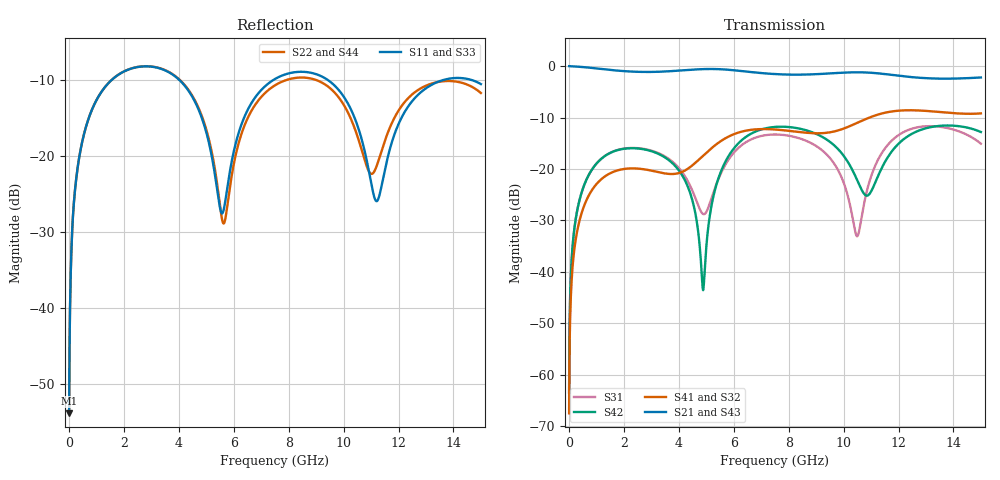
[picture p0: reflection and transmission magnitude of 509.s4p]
! Created with skrf 1.8.0 (http://scikit-rf.org).
# GHz S RI R 50.0
!freq ReS11 ImS11 ReS12 ImS12 ReS13 ImS13
! ReS14 ImS14
! ReS21 ImS21 ReS22 ImS22 ReS23 ImS23
! ReS24 ImS24
! ReS31 ImS31 ReS32 ImS32 ReS33 ImS33
! ReS34 ImS34
! ReS41 ImS41 ReS42 ImS42 ReS43 ImS43
! ReS44 ImS44
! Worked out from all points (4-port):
!   2499 points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, 5 MHz to 15 GHz, reference 50 ohm
!   strongest paths, dB at 5 MHz, 3.476 GHz, 7.19 GHz, 11.1 GHz, 15 GHz:
!     S21: 0.0, -1.1, -1.4, -1.3, -2.2
!     S43: 0.0, -1.1, -1.4, -1.3, -2.2
!     S41: -67.5, -20.9, -12.3, -9.7, -9.2
!     S32: -67.5, -20.9, -12.3, -9.7, -9.3
!     S42: -63.5, -17.7, -12.1, -23.3, -12.8
!     S31: -63.5, -17.5, -13.4, -20.1, -15.1
!   lowest |S11| = -53.9 dB at 5 MHz (marker M1), VSWR 1.00, Z = 50.2 + j0.122 ohm
!   |S11| at or under -10 dB: start of sweep to 1.537 GHz; 4.036 GHz to 7.419 GHz (3.384 GHz wide, 59.1 % of centre); 9.446 GHz to 13.59 GHz (4.14 GHz wide, 35.9 % of centre) (the widest 3 of 4)
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0.005  0.0016 0.00121  0.9984 -0.00312  8.14e-05 0.000665  -7.89e-05 -0.000412
       0.9984 -0.00312  0.0016 0.00121  -7.89e-05 -0.000412  8.14e-05 0.000665
       8.14e-05 0.000665  -7.89e-05 -0.000412  0.0016 0.00121  0.9984 -0.00312
       -7.89e-05 -0.000412  8.14e-05 0.000665  0.9984 -0.00312  0.0016 0.00121
0.3126303  0.0232 0.08  0.9684 -0.1943  0.011 0.0396  -0.00912 -0.0243
           0.9684 -0.1943  0.0232 0.08  -0.00911 -0.0243  0.011 0.0396
           0.011 0.0396  -0.00911 -0.0243  0.0232 0.08  0.9684 -0.1943
           -0.00912 -0.0243  0.011 0.0396  0.9684 -0.1943  0.0232 0.08
1.469362  0.2459 0.1848  0.5985 -0.6984  0.1237 0.0697  -0.0887 -0.0144
          0.5985 -0.6984  0.2464 0.1846  -0.0885 -0.0145  0.1225 0.0712
          0.1237 0.0697  -0.0885 -0.0145  0.246 0.1847  0.5985 -0.6984
          -0.0887 -0.0144  0.1225 0.0712  0.5985 -0.6984  0.2462 0.1846
4.889537  0.0943 -0.1386  -0.8258 -0.438  -0.032 -0.0174  -0.0581 0.1217
          -0.8258 -0.438  0.0924 -0.1466  -0.0604 0.1205  0.00622 0.00234
          -0.032 -0.0174  -0.0604 0.1205  0.0943 -0.138  -0.8261 -0.4378
          -0.0581 0.1217  0.00622 0.00234  -0.8261 -0.4378  0.0918 -0.1462
8.809921  0.3458 -0.0807  0.0431 0.8294  0.1757 -0.0324  0.204 -0.0903
          0.0431 0.8294  0.322 -0.0461  0.2035 -0.0818  0.1775 -0.1456
          0.1757 -0.0324  0.2035 -0.0818  0.3495 -0.0861  0.0428 0.8284
          0.204 -0.0903  0.1775 -0.1456  0.0428 0.8284  0.323 -0.0398
10.49187  0.0944 -0.1314  0.7239 0.4834  0.0209 0.00712  0.1412 -0.2421
          0.7239 0.4834  0.1068 -0.0867  0.1523 -0.2346  -0.049 -0.061
          0.0209 0.00712  0.1523 -0.2346  0.0912 -0.1377  0.7227 0.4841
          0.1412 -0.2421  -0.049 -0.061  0.7227 0.4841  0.1151 -0.0844
15  0.2697 -0.129  -0.1755 -0.7549  0.1512 -0.09  -0.3106 0.1544
    -0.1755 -0.7549  0.235 -0.1135  -0.315 0.1326  0.1239 -0.1921
    0.1512 -0.09  -0.315 0.1326  0.2765 -0.137  -0.1736 -0.7541
    -0.3106 0.1544  0.1239 -0.1921  -0.1736 -0.7541  0.2375 -0.1044
